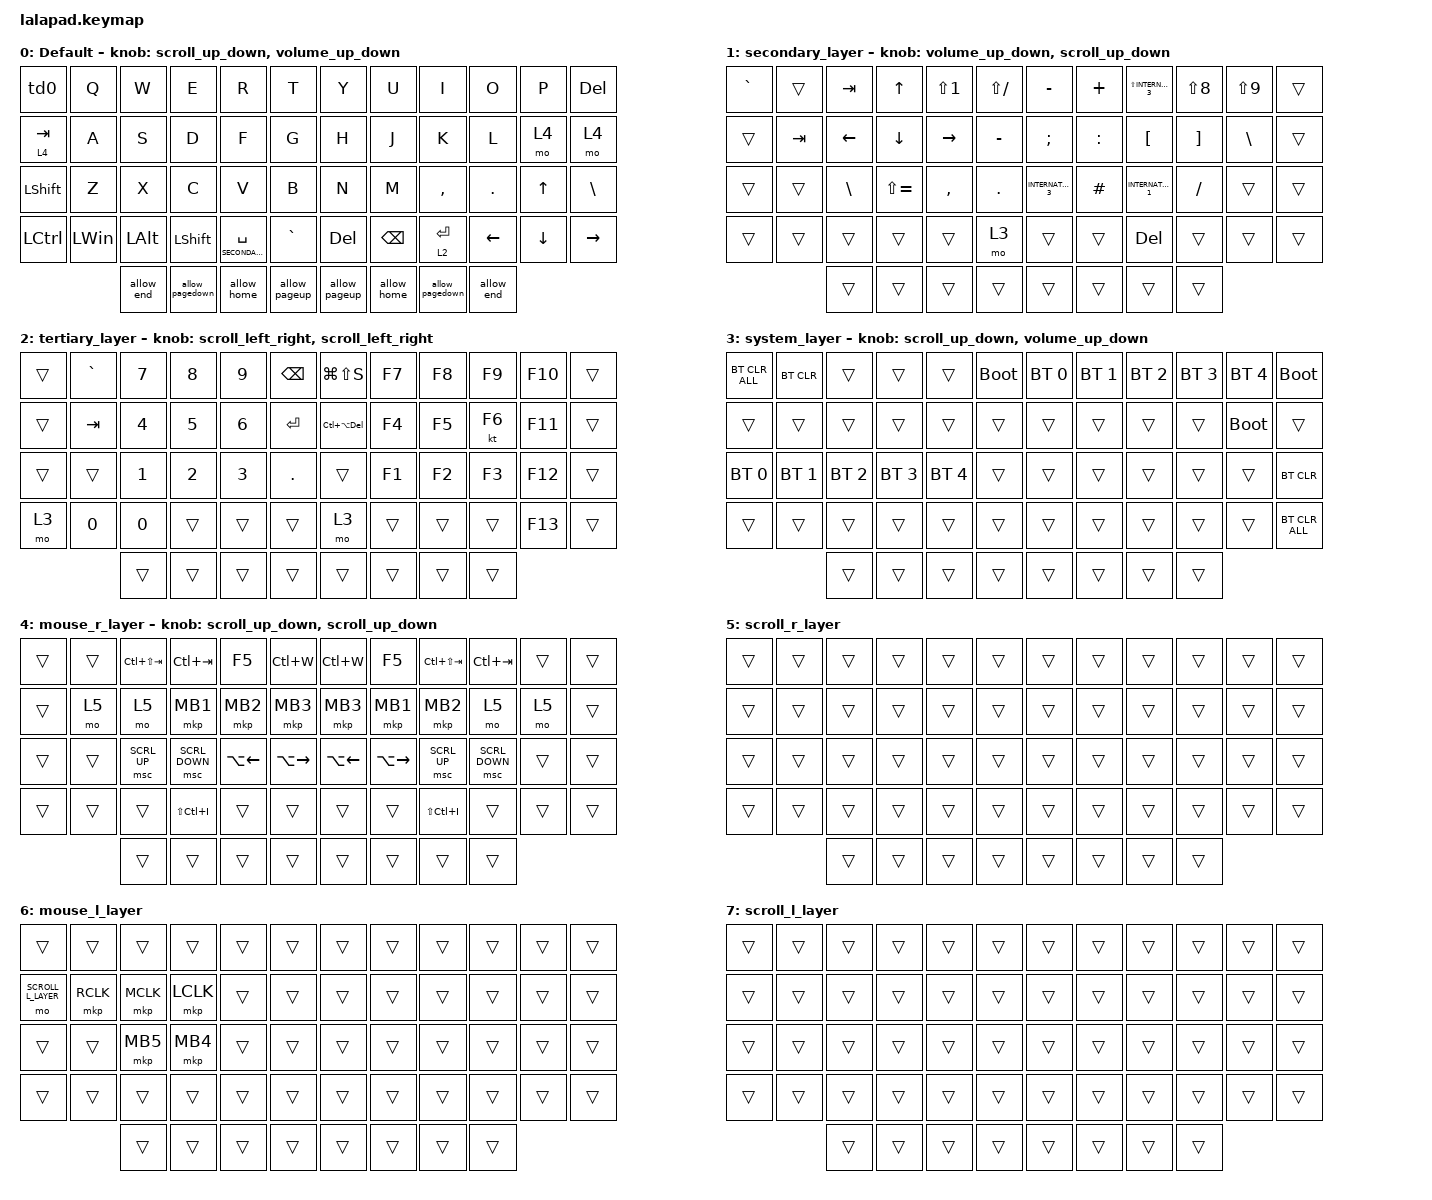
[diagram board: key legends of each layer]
#include <input/processors.dtsi>
#include <behaviors.dtsi>
#include <dt-bindings/zmk/bt.h>
#include <dt-bindings/zmk/keys.h>
#include <dt-bindings/zmk/pointing.h>

#define DEFAULT_LAYER   0
#define SECONDARY_LAYER 1
#define TERTIARY_LAYER  2
#define SYSTEM_LAYER    3
#define MOUSE_R_LAYER   4
#define SCROLL_R_LAYER  5
#define MOUSE_L_LAYER   6
#define SCROLL_L_LAYER  7

// Mouse Scroll Value

#define ZMK_POINTING_DEFAULT_SCRL_VAL 100

// cirque trackpad input&layer control

&glidepoint_listener_R {
    input-processors =
        <&zip_xy_transform (INPUT_TRANSFORM_XY_SWAP | INPUT_TRANSFORM_X_INVERT | INPUT_TRANSFORM_Y_INVERT)>,
        <&zip_xy_scaler 2 1>;

    //<&zip_temp_layer MOUSE_R_LAYER 500>;

    lowspeedmode {
        layers = <SECONDARY_LAYER>;
        input-processors =
            <&zip_xy_transform (INPUT_TRANSFORM_XY_SWAP | INPUT_TRANSFORM_X_INVERT | INPUT_TRANSFORM_Y_INVERT)>,
            <&zip_xy_scaler 3 5>;

        //<&zip_temp_layer MOUSE_R_LAYER 500>;
    };

    scroller {
        layers = <SCROLL_R_LAYER>;
        input-processors =
            <&zip_xy_to_scroll_mapper>,
            <&zip_scroll_transform (INPUT_TRANSFORM_XY_SWAP | INPUT_TRANSFORM_Y_INVERT)>,
            <&zip_scroll_scaler 1 8>;
    };
};

&glidepoint_listener_L {
    input-processors =
        <&zip_xy_transform (INPUT_TRANSFORM_XY_SWAP | INPUT_TRANSFORM_X_INVERT | INPUT_TRANSFORM_Y_INVERT)>,
        <&zip_xy_scaler 2 1>;

    //<&zip_temp_layer MOUSE_L_LAYER 500>;

    lowspeedmode {
        layers = <SECONDARY_LAYER>;
        input-processors =
            <&zip_xy_transform (INPUT_TRANSFORM_XY_SWAP | INPUT_TRANSFORM_X_INVERT | INPUT_TRANSFORM_Y_INVERT)>,
            <&zip_xy_scaler 3 4>;

        //<&zip_temp_layer MOUSE_L_LAYER 500>;
    };

    scroller {
        layers = <SCROLL_L_LAYER>;
        input-processors =
            <&zip_xy_to_scroll_mapper>,
            <&zip_scroll_transform (INPUT_TRANSFORM_XY_SWAP | INPUT_TRANSFORM_Y_INVERT)>,
            <&zip_scroll_scaler 1 6>;
    };
};

/ {
    behaviors {
        // Encoder to Mouse Scroll

        scroll_up_down: sensor_scroll_up_down {
            compatible = "zmk,behavior-sensor-rotate";
            #sensor-binding-cells = <0>;
            bindings = <&msc SCRL_UP>, <&msc SCRL_DOWN>;

            tap-ms = <20>;
            label = "SCROLL_UP_DOWN";
        };

        scroll_down_up: sensor_scroll_down_up {
            compatible = "zmk,behavior-sensor-rotate";
            #sensor-binding-cells = <0>;
            bindings = <&msc SCRL_DOWN>, <&msc SCRL_UP>;

            tap-ms = <20>;
            label = "SCROLL_DOWN_UP";
        };

        scroll_left_right: sensor_scroll_left_right {
            compatible = "zmk,behavior-sensor-rotate";
            #sensor-binding-cells = <0>;
            bindings = <&msc SCRL_LEFT>, <&msc SCRL_RIGHT>;

            tap-ms = <20>;
            label = "SCROLL_LEFT_RIGHT";
        };

        scroll_right_left: sensor_scroll_right_left {
            compatible = "zmk,behavior-sensor-rotate";
            #sensor-binding-cells = <0>;
            bindings = <&msc SCRL_RIGHT>, <&msc SCRL_LEFT>;

            tap-ms = <20>;
            label = "SCROLL_RIGHT_LEFT";
        };

        volume_up_down: sensor_volume_up_down {
            compatible = "zmk,behavior-sensor-rotate";
            #sensor-binding-cells = <0>;
            bindings = <&kp C_VOLUME_UP>, <&kp C_VOLUME_DOWN>;

            tap-ms = <20>;
            label = "VOLUME_UP_DOWN";
        };

        dot_comma: dot_comma {
            compatible = "zmk,behavior-mod-morph";
            #binding-cells = <0>;
            bindings = <&kp KP_DOT>, <&kp COMMA>;

            mods = <(MOD_LSFT|MOD_RSFT)>;
            label = "DOT_COMMA";
        };

        pls_minus: pls_minus {
            compatible = "zmk,behavior-mod-morph";
            #binding-cells = <0>;
            bindings = <&kp PLUS>, <&kp MINUS>;

            mods = <(MOD_LSFT|MOD_RSFT)>;
            label = "PLS_MINUS";
        };

        allow_pageup: allow_pageup {
            compatible = "zmk,behavior-mod-morph";
            #binding-cells = <0>;
            bindings = <&kp UP>, <&kp PAGE_UP>;

            mods = <(MOD_LCTL|MOD_RCTL)>;
            label = "ALLOW_PAGEUP";
        };

        allow_pagedown: allow_pagedown {
            compatible = "zmk,behavior-mod-morph";
            #binding-cells = <0>;
            bindings = <&kp DOWN>, <&kp PAGE_DOWN>;

            mods = <(MOD_LCTL|MOD_RCTL)>;
            label = "ALLOW_PAGEDOWN";
        };

        allow_home: allow_home {
            compatible = "zmk,behavior-mod-morph";
            #binding-cells = <0>;
            bindings = <&kp LEFT>, <&kp HOME>;

            mods = <(MOD_LCTL|MOD_RCTL)>;
            label = "ALLOW_HOME";
        };

        allow_end: allow_end {
            compatible = "zmk,behavior-mod-morph";
            #binding-cells = <0>;
            bindings = <&kp RIGHT>, <&kp END>;

            mods = <(MOD_LCTL|MOD_RCTL)>;
            label = "ALLOW_END";
        };

        mt2: mod_tap2 {
            compatible = "zmk,behavior-hold-tap";
            #binding-cells = <2>;
            flavor = "tap-preferred";
            tapping-term-ms = <200>;
            quick-tap-ms = <200>;
            require-prior-idle-ms = <125>;
            bindings = <&kp>, <&kp>;
        };
    };

    behaviors {
        td0: tap_dance_0 {
            compatible = "zmk,behavior-tap-dance";
            #binding-cells = <0>;
            tapping-term-ms = <300>;
            bindings = <&kp ESC>, <&kp GRAVE>;
        };
    };

    combos {
        compatible = "zmk,combos";

        layer2 {
            bindings = <&mo 2>;
            key-positions = <12 24>;
        };
    };

    keymap {
        compatible = "zmk,keymap";

        DEFAULT_LAYER {
            display-name = "Default";
            sensor-bindings = <&scroll_up_down>, <&volume_up_down>;

            bindings = <
&td0       &kp Q         &kp W         &kp E            &kp R                      &kp T          &kp Y          &kp U          &kp I            &kp O       &kp P     &kp DELETE
&lt 4 TAB  &kp A         &kp S         &kp D            &kp F                      &kp G          &kp H          &kp J          &kp K            &kp L       &mo 4     &mo 4
&kp LSHFT  &kp Z         &kp X         &kp C            &kp V                      &kp B          &kp N          &kp M          &kp COMMA        &kp PERIOD  &kp UP    &kp BSLH
&kp LCTRL  &kp LEFT_WIN  &kp LEFT_ALT  &kp LEFT_SHIFT   &lt SECONDARY_LAYER SPACE  &kp GRAVE      &kp DELETE     &kp BACKSPACE  &lt 2 ENTER      &kp LEFT    &kp DOWN  &kp RIGHT
                         &allow_end    &allow_pagedown  &allow_home                &allow_pageup  &allow_pageup  &allow_home    &allow_pagedown  &allow_end
            >;
        };

        SECONDARY_LAYER {
            display-name = "secondary_layer";
            sensor-bindings = <&volume_up_down>, <&scroll_up_down>;

            bindings = <
&kp GRAVE  &trans   &kp TAB        &kp UP         &kp LS(NUMBER_1)  &kp LS(SLASH)  &kp MINUS            &kp PLUS   &kp LS(INTERNATIONAL_3)  &kp LS(NUMBER_8)   &kp LS(NUMBER_9)  &trans
&trans     &kp TAB  &kp LEFT       &kp DOWN       &kp RIGHT         &kp MINUS      &kp SEMICOLON        &kp COLON  &kp LEFT_BRACKET         &kp RIGHT_BRACKET  &kp BACKSLASH     &trans
&trans     &trans   &kp BACKSLASH  &kp LS(EQUAL)  &kp COMMA         &kp PERIOD     &kp INTERNATIONAL_3  &kp HASH   &kp INTERNATIONAL_1      &kp SLASH          &trans            &trans
&trans     &trans   &trans         &trans         &trans            &mo 3          &trans               &trans     &kp DELETE               &trans             &trans            &trans
                    &trans         &trans         &trans            &trans         &trans               &trans     &trans                   &trans
            >;
        };

        TERTIARY_LAYER {
            display-name = "tertiary_layer";
            bindings = <
&trans  &kp GRAVE     &kp NUMBER_7  &kp NUMBER_8  &kp NUMBER_9  &kp BACKSPACE  &kp LG(LS(S))       &kp F7  &kp F8  &kp F9  &kp F10  &trans
&trans  &kp TAB       &kp NUMBER_4  &kp NUMBER_5  &kp NUMBER_6  &kp ENTER      &kp LC(LA(DELETE))  &kp F4  &kp F5  &kt F6  &kp F11  &trans
&trans  &trans        &kp NUMBER_1  &kp NUMBER_2  &kp NUMBER_3  &kp PERIOD     &trans              &kp F1  &kp F2  &kp F3  &kp F12  &trans
&mo 3   &kp NUMBER_0  &kp NUMBER_0  &trans        &trans        &trans         &mo 3               &trans  &trans  &trans  &kp F13  &trans
                      &trans        &trans        &trans        &trans         &trans              &trans  &trans  &trans
            >;

            sensor-bindings = <&scroll_left_right>, <&scroll_left_right>;
        };

        SYSTEM_LAYER {
            display-name = "system_layer";
            sensor-bindings = <&scroll_up_down>, <&volume_up_down>;

            bindings = <
&bt BT_CLR_ALL  &bt BT_CLR    &trans        &trans        &trans        &bootloader  &bt BT_SEL 0  &bt BT_SEL 1  &bt BT_SEL 2  &bt BT_SEL 3  &bt BT_SEL 4  &bootloader
&trans          &trans        &trans        &trans        &trans        &trans       &trans        &trans        &trans        &trans        &bootloader   &trans
&bt BT_SEL 0    &bt BT_SEL 1  &bt BT_SEL 2  &bt BT_SEL 3  &bt BT_SEL 4  &trans       &trans        &trans        &trans        &trans        &trans        &bt BT_CLR
&trans          &trans        &trans        &trans        &trans        &trans       &trans        &trans        &trans        &trans        &trans        &bt BT_CLR_ALL
                              &trans        &trans        &trans        &trans       &trans        &trans        &trans        &trans
            >;
        };

        MOUSE_R_LAYER {
            display-name = "mouse_r_layer";
            bindings = <
&trans  &trans  &kp LC(LS(TAB))  &kp LC(TAB)     &kp F5        &kp LC(W)      &kp LC(W)     &kp F5         &kp LC(LS(TAB))  &kp LC(TAB)     &trans  &trans
&trans  &mo 5   &mo 5            &mkp MB1        &mkp MB2      &mkp MB3       &mkp MB3      &mkp MB1       &mkp MB2         &mo 5           &mo 5   &trans
&trans  &trans  &msc SCRL_UP     &msc SCRL_DOWN  &kp LA(LEFT)  &kp LA(RIGHT)  &kp LA(LEFT)  &kp LA(RIGHT)  &msc SCRL_UP     &msc SCRL_DOWN  &trans  &trans
&trans  &trans  &trans           &kp LS(LC(I))   &trans        &trans         &trans        &trans         &kp LS(LC(I))    &trans          &trans  &trans
                &trans           &trans          &trans        &trans         &trans        &trans         &trans           &trans
            >;

            sensor-bindings = <&scroll_up_down>, <&scroll_up_down>;
        };

        SCROLL_R_LAYER {
            display-name = "scroll_r_layer";
            bindings = <
&trans  &trans  &trans  &trans  &trans  &trans  &trans  &trans  &trans  &trans  &trans  &trans
&trans  &trans  &trans  &trans  &trans  &trans  &trans  &trans  &trans  &trans  &trans  &trans
&trans  &trans  &trans  &trans  &trans  &trans  &trans  &trans  &trans  &trans  &trans  &trans
&trans  &trans  &trans  &trans  &trans  &trans  &trans  &trans  &trans  &trans  &trans  &trans
                &trans  &trans  &trans  &trans  &trans  &trans  &trans  &trans
            >;
        };

        MOUSE_L_LAYER {
            display-name = "mouse_l_layer";
            bindings = <
&trans              &trans     &trans     &trans     &trans  &trans  &trans  &trans  &trans  &trans  &trans  &trans
&mo SCROLL_L_LAYER  &mkp RCLK  &mkp MCLK  &mkp LCLK  &trans  &trans  &trans  &trans  &trans  &trans  &trans  &trans
&trans              &trans     &mkp MB5   &mkp MB4   &trans  &trans  &trans  &trans  &trans  &trans  &trans  &trans
&trans              &trans     &trans     &trans     &trans  &trans  &trans  &trans  &trans  &trans  &trans  &trans
                               &trans     &trans     &trans  &trans  &trans  &trans  &trans  &trans
            >;
        };

        SCROLL_L_LAYER {
            display-name = "scroll_l_layer";
            bindings = <
&trans  &trans  &trans  &trans  &trans  &trans  &trans  &trans  &trans  &trans  &trans  &trans
&trans  &trans  &trans  &trans  &trans  &trans  &trans  &trans  &trans  &trans  &trans  &trans
&trans  &trans  &trans  &trans  &trans  &trans  &trans  &trans  &trans  &trans  &trans  &trans
&trans  &trans  &trans  &trans  &trans  &trans  &trans  &trans  &trans  &trans  &trans  &trans
                &trans  &trans  &trans  &trans  &trans  &trans  &trans  &trans
            >;
        };
    };
};
